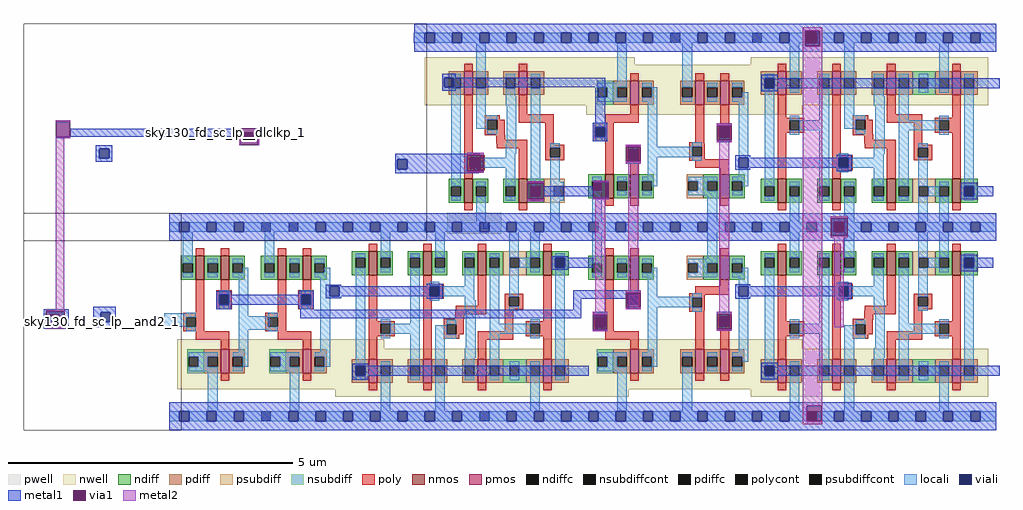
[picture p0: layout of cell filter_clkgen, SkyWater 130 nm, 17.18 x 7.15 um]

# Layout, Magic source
magic
tech sky130A
magscale 1 2
<< nwell >>
rect -482 1810 -398 1978
rect -62 784 235 987
<< locali >>
rect -522 2030 -494 2064
rect -516 1364 -496 1398
<< viali >>
rect -1118 1681 -1084 1715
rect -1628 1623 -1594 1657
rect -580 1584 -545 1620
rect -322 1590 -288 1624
<< metal1 >>
rect -520 2064 -492 2096
rect -522 2030 -492 2064
rect -520 1998 -492 2030
rect -1782 1751 -1730 1757
rect -1136 1727 -1130 1728
rect -1730 1699 -1130 1727
rect -1782 1693 -1730 1699
rect -1136 1669 -1130 1699
rect -1071 1669 -1065 1728
rect -1640 1657 -1582 1669
rect -1640 1623 -1628 1657
rect -1594 1623 -1582 1657
rect -334 1638 -276 1642
rect -1640 1611 -1582 1623
rect -587 1636 -276 1638
rect -587 1620 -334 1636
rect -587 1584 -580 1620
rect -545 1584 -334 1620
rect -587 1578 -334 1584
rect -587 1572 -276 1578
rect -587 1570 -293 1572
rect -518 1398 -498 1430
rect 946 1412 1006 1418
rect -544 1364 -480 1398
rect -518 1332 -498 1364
rect 946 1344 1006 1350
rect 39 1128 248 1158
rect -921 1096 -887 1109
rect -921 1089 -874 1096
rect 39 1089 68 1128
rect -921 1059 68 1089
rect 108 1059 154 1080
<< via1 >>
rect -1782 1699 -1730 1751
rect -1130 1715 -1071 1728
rect -1130 1681 -1118 1715
rect -1118 1681 -1084 1715
rect -1084 1681 -1071 1715
rect -1130 1669 -1071 1681
rect -334 1624 -276 1636
rect -334 1590 -322 1624
rect -322 1590 -288 1624
rect -288 1590 -276 1624
rect -334 1578 -276 1590
rect 946 1350 1006 1412
rect -1816 1031 -1749 1084
<< metal2 >>
rect -1782 1751 -1730 1757
rect -1782 1693 -1730 1699
rect -1782 1090 -1752 1693
rect -1136 1669 -1130 1728
rect -1071 1669 -1065 1728
rect -334 1636 -276 1642
rect -334 1572 -276 1578
rect 946 1412 1006 1418
rect 946 1344 1006 1350
rect 236 1092 270 1142
rect -1816 1084 -1749 1090
rect -1816 1025 -1749 1031
rect 958 1028 992 1344
use cclkgen  cclkgen_0
transform 1 0 -1536 0 -1 1430
box -359 -1 1646 764
use sky130_fd_sc_lp__dlclkp_1  sky130_fd_sc_lp__dlclkp_1_0 ~/sky130A/libs.ref/sky130_fd_sc_lp/mag
transform 1 0 -1857 0 1 1381
box -38 -49 1382 715
use phi2gen  phi2gen_0
transform 1 0 192 0 1 1332
box -702 -666 1348 764
<< end >>

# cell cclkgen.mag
magic
tech sky130A
magscale 1 2
<< nwell >>
rect 182 444 480 620
rect 738 444 910 646
<< pwell >>
rect 1133 -1 1323 72
<< nmos >>
rect 248 150 278 234
rect 336 150 366 234
<< pmos >>
rect 336 480 366 564
<< ndiff >>
rect 194 210 248 234
rect 194 176 202 210
rect 236 176 248 210
rect 194 150 248 176
rect 278 210 336 234
rect 278 176 290 210
rect 324 176 336 210
rect 278 150 336 176
rect 366 210 420 234
rect 366 176 378 210
rect 412 176 420 210
rect 366 150 420 176
<< pdiff >>
rect 276 540 336 564
rect 276 506 290 540
rect 324 506 336 540
rect 276 480 336 506
rect 366 540 420 564
rect 366 506 378 540
rect 412 506 420 540
rect 366 480 420 506
<< ndiffc >>
rect 202 176 236 210
rect 290 176 324 210
rect 378 176 412 210
<< pdiffc >>
rect 290 506 324 540
rect 378 506 412 540
<< nsubdiff >>
rect 218 540 276 564
rect 218 506 222 540
rect 256 506 276 540
rect 218 480 276 506
<< nsubdiffcont >>
rect 222 506 256 540
<< poly >>
rect 336 564 366 590
rect 336 446 366 480
rect 248 416 366 446
rect 204 400 278 416
rect 204 366 214 400
rect 248 366 278 400
rect 204 350 278 366
rect 248 234 278 350
rect 320 322 374 338
rect 320 288 330 322
rect 364 288 374 322
rect 320 272 374 288
rect 336 234 366 272
rect 248 124 278 150
rect 336 124 366 150
<< polycont >>
rect 214 366 248 400
rect 330 288 364 322
<< locali >>
rect 154 698 190 732
rect 224 698 286 732
rect 320 698 382 732
rect 416 698 538 732
rect 290 556 324 698
rect 222 540 324 556
rect 256 506 290 540
rect 222 490 324 506
rect 378 540 412 556
rect 412 506 432 540
rect 378 490 432 506
rect 214 400 248 416
rect 136 366 214 400
rect 136 353 248 366
rect 214 350 248 353
rect 398 410 432 490
rect 398 363 506 410
rect 330 322 364 338
rect 330 272 364 288
rect 398 226 432 363
rect 202 210 236 226
rect 202 66 236 176
rect 290 210 324 226
rect 290 160 324 176
rect 378 210 432 226
rect 412 192 432 210
rect 378 160 412 176
rect 154 32 190 66
rect 224 32 286 66
rect 320 32 382 66
rect 416 32 608 66
rect 1208 32 1276 55
<< viali >>
rect 190 698 224 732
rect 286 698 320 732
rect 382 698 416 732
rect 810 538 844 572
rect -267 358 -233 392
rect -88 349 -54 383
rect 330 288 364 322
rect 618 288 652 322
rect 718 258 752 292
rect 1070 258 1104 292
rect 1512 158 1546 192
rect 190 32 224 66
rect 286 32 320 66
rect 382 32 416 66
<< metal1 >>
rect 154 732 538 764
rect 154 698 190 732
rect 224 698 286 732
rect 320 698 382 732
rect 416 698 538 732
rect 154 666 538 698
rect 1236 684 1288 751
rect 798 572 854 586
rect 798 538 810 572
rect 844 538 1630 572
rect 798 530 854 538
rect -288 392 -200 407
rect -288 358 -267 392
rect -233 358 -200 392
rect -288 339 -200 358
rect -113 383 -35 402
rect -113 349 -88 383
rect -54 349 -35 383
rect -113 330 -35 349
rect 320 322 372 339
rect 610 322 662 336
rect 320 288 330 322
rect 364 288 618 322
rect 652 288 662 322
rect 320 276 372 288
rect 610 273 662 288
rect 705 292 759 300
rect 1060 292 1116 302
rect 705 258 718 292
rect 752 258 1070 292
rect 1104 258 1116 292
rect 705 252 759 258
rect 1060 248 1116 258
rect 1500 192 1556 200
rect 1500 158 1512 192
rect 1546 158 1646 192
rect 1500 152 1556 158
rect 154 66 538 98
rect 154 32 190 66
rect 224 32 286 66
rect 320 32 382 66
rect 416 32 608 66
rect 154 0 538 32
rect 1208 20 1243 55
rect 1259 20 1276 55
use comp_clks  comp_clks_0
transform 1 0 432 0 1 0
box 302 0 1192 764
use inv_weak_pulldown  inv_weak_pulldown_0
transform 1 0 288 0 1 0
box 154 0 538 764
use sky130_fd_sc_lp__and2_1  sky130_fd_sc_lp__and2_1_0 ~/sky130A/libs.ref/sky130_fd_sc_lp/mag
transform 1 0 -321 0 1 49
box -38 -49 518 715
<< labels >>
rlabel locali 538 716 538 716 3 VDD
rlabel locali 432 332 432 332 3 out
flabel ndiffc 378 176 412 210 0 FreeSans 160 0 0 0 out
rlabel locali 306 160 306 160 5 int
flabel polycont 214 366 248 400 0 FreeSans 160 0 0 0 in
flabel polycont 330 288 364 322 0 FreeSans 160 0 0 0 Vnb
rlabel metal1 1630 556 1630 556 3 cclk
rlabel metal1 1646 172 1646 172 3 cclkb
rlabel viali -240 370 -240 370 3 clk
rlabel viali -54 368 -54 368 3 div2clk
<< end >>

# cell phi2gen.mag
magic
tech sky130A
<< nwell >>
rect -142 239 32 323
rect 242 310 327 323
rect 34 222 327 310
rect -53 -190 327 -173
rect -53 -261 654 -190
rect 236 -274 654 -261
<< nmos >>
rect 183 75 198 117
rect -20 -68 -5 -26
rect 24 -68 39 -26
rect 183 -68 198 -26
rect 284 -60 299 -18
rect 380 -60 395 -18
rect 476 -60 491 -18
rect 591 -60 606 -18
<< pmos >>
rect 139 240 154 282
rect 183 240 198 282
rect 24 -233 39 -191
rect 139 -233 154 -191
rect 183 -233 198 -191
rect 284 -250 299 -208
rect 380 -250 395 -208
rect 476 -250 491 -208
rect 591 -250 606 -208
<< ndiff >>
rect 153 105 183 117
rect 153 88 160 105
rect 177 88 183 105
rect 153 75 183 88
rect 198 105 226 117
rect 198 88 204 105
rect 221 88 226 105
rect 198 75 226 88
rect -50 -39 -20 -26
rect -50 -56 -43 -39
rect -26 -56 -20 -39
rect -50 -68 -20 -56
rect -5 -39 24 -26
rect -5 -56 1 -39
rect 18 -56 24 -39
rect -5 -68 24 -56
rect 39 -39 66 -26
rect 39 -56 45 -39
rect 62 -56 66 -39
rect 39 -68 66 -56
rect 153 -39 183 -26
rect 153 -56 160 -39
rect 177 -56 183 -39
rect 153 -68 183 -56
rect 198 -39 226 -26
rect 198 -56 204 -39
rect 221 -56 226 -39
rect 198 -68 226 -56
rect 254 -30 284 -18
rect 254 -47 261 -30
rect 278 -47 284 -30
rect 254 -60 284 -47
rect 299 -30 326 -18
rect 299 -47 305 -30
rect 322 -47 326 -30
rect 299 -60 326 -47
rect 353 -30 380 -18
rect 353 -47 357 -30
rect 374 -47 380 -30
rect 353 -60 380 -47
rect 395 -30 422 -18
rect 395 -47 401 -30
rect 418 -47 422 -30
rect 395 -60 422 -47
rect 449 -30 476 -18
rect 449 -47 453 -30
rect 470 -47 476 -30
rect 449 -60 476 -47
rect 491 -30 521 -18
rect 561 -30 591 -18
rect 491 -47 497 -30
rect 514 -47 521 -30
rect 561 -47 568 -30
rect 585 -47 591 -30
rect 491 -60 521 -47
rect 561 -60 591 -47
rect 606 -30 636 -18
rect 606 -47 612 -30
rect 629 -47 636 -30
rect 606 -60 636 -47
<< pdiff >>
rect 112 270 139 282
rect 112 253 116 270
rect 133 253 139 270
rect 112 240 139 253
rect 154 270 183 282
rect 154 253 160 270
rect 177 253 183 270
rect 154 240 183 253
rect 198 270 225 282
rect 198 253 204 270
rect 221 253 225 270
rect 198 240 225 253
rect -6 -204 24 -191
rect -6 -221 1 -204
rect 18 -221 24 -204
rect -6 -233 24 -221
rect 39 -204 66 -191
rect 39 -221 45 -204
rect 62 -221 66 -204
rect 39 -233 66 -221
rect 112 -204 139 -191
rect 112 -221 116 -204
rect 133 -221 139 -204
rect 112 -233 139 -221
rect 154 -204 183 -191
rect 154 -221 160 -204
rect 177 -221 183 -204
rect 154 -233 183 -221
rect 198 -204 225 -191
rect 198 -221 204 -204
rect 221 -221 225 -204
rect 198 -233 225 -221
rect 254 -220 284 -208
rect 254 -237 261 -220
rect 278 -237 284 -220
rect 254 -250 284 -237
rect 299 -220 326 -208
rect 299 -237 305 -220
rect 322 -237 326 -220
rect 299 -250 326 -237
rect 353 -220 380 -208
rect 353 -237 357 -220
rect 374 -237 380 -220
rect 353 -250 380 -237
rect 395 -220 422 -208
rect 395 -237 401 -220
rect 418 -237 422 -220
rect 395 -250 422 -237
rect 449 -220 476 -208
rect 449 -237 453 -220
rect 470 -237 476 -220
rect 449 -250 476 -237
rect 491 -220 521 -208
rect 561 -220 591 -208
rect 491 -237 497 -220
rect 514 -237 521 -220
rect 561 -237 568 -220
rect 585 -237 591 -220
rect 491 -250 521 -237
rect 561 -250 591 -237
rect 606 -220 636 -208
rect 606 -237 612 -220
rect 629 -237 636 -220
rect 606 -250 636 -237
<< ndiffc >>
rect 160 88 177 105
rect 204 88 221 105
rect -43 -56 -26 -39
rect 1 -56 18 -39
rect 45 -56 62 -39
rect 160 -56 177 -39
rect 204 -56 221 -39
rect 261 -47 278 -30
rect 305 -47 322 -30
rect 357 -47 374 -30
rect 401 -47 418 -30
rect 453 -47 470 -30
rect 497 -47 514 -30
rect 568 -47 585 -30
rect 612 -47 629 -30
<< pdiffc >>
rect 116 253 133 270
rect 160 253 177 270
rect 204 253 221 270
rect 1 -221 18 -204
rect 45 -221 62 -204
rect 116 -221 133 -204
rect 160 -221 177 -204
rect 204 -221 221 -204
rect 261 -237 278 -220
rect 305 -237 322 -220
rect 357 -237 374 -220
rect 401 -237 418 -220
rect 453 -237 470 -220
rect 497 -237 514 -220
rect 568 -237 585 -220
rect 612 -237 629 -220
<< psubdiff >>
rect -127 96 -91 109
rect -127 79 -110 96
rect -93 79 -91 96
rect -127 67 -91 79
rect 124 105 153 117
rect 124 88 126 105
rect 143 88 153 105
rect 124 75 153 88
rect 124 -39 153 -26
rect 124 -56 126 -39
rect 143 -56 153 -39
rect 124 -68 153 -56
rect 521 -30 561 -18
rect 521 -47 532 -30
rect 549 -47 561 -30
rect 521 -60 561 -47
<< nsubdiff >>
rect -35 -204 -6 -191
rect -35 -221 -33 -204
rect -16 -221 -6 -204
rect -35 -233 -6 -221
rect 521 -220 561 -208
rect 521 -237 532 -220
rect 549 -237 561 -220
rect 521 -250 561 -237
<< psubdiffcont >>
rect -110 79 -93 96
rect 126 88 143 105
rect 126 -56 143 -39
rect 532 -47 549 -30
<< nsubdiffcont >>
rect -33 -221 -16 -204
rect 532 -237 549 -220
<< poly >>
rect 139 282 154 295
rect 183 282 198 295
rect 139 174 154 240
rect 183 207 198 240
rect 176 199 203 207
rect 176 182 181 199
rect 198 182 203 199
rect 176 174 203 182
rect 128 171 154 174
rect 128 166 155 171
rect 128 149 133 166
rect 150 149 155 166
rect 128 144 155 149
rect 128 141 198 144
rect 139 129 198 141
rect 183 117 198 129
rect 183 62 198 75
rect -20 -26 -5 -13
rect 24 -26 39 -13
rect 183 -26 198 -13
rect 284 -18 299 -5
rect 380 -18 395 -5
rect 476 -18 491 -5
rect 591 -18 606 -5
rect -20 -126 -5 -68
rect 24 -87 39 -68
rect 183 -80 198 -68
rect 16 -95 43 -87
rect 139 -92 198 -80
rect 16 -112 21 -95
rect 38 -112 43 -95
rect 16 -120 43 -112
rect 128 -95 198 -92
rect 128 -100 155 -95
rect 128 -117 133 -100
rect 150 -117 155 -100
rect 128 -122 155 -117
rect 128 -125 154 -122
rect -42 -134 -5 -126
rect -42 -151 -37 -134
rect -20 -151 -5 -134
rect -42 -159 -5 -151
rect -20 -174 39 -159
rect 24 -191 39 -174
rect 139 -191 154 -125
rect 176 -133 203 -125
rect 176 -150 181 -133
rect 198 -150 203 -133
rect 176 -158 203 -150
rect 284 -141 299 -60
rect 380 -75 395 -60
rect 380 -80 416 -75
rect 380 -97 391 -80
rect 408 -97 416 -80
rect 380 -102 416 -97
rect 284 -146 330 -141
rect 183 -191 198 -158
rect 284 -163 305 -146
rect 322 -163 330 -146
rect 284 -168 330 -163
rect 284 -208 299 -168
rect 380 -208 395 -102
rect 476 -114 491 -60
rect 437 -123 491 -114
rect 436 -129 491 -123
rect 523 -98 556 -93
rect 523 -115 531 -98
rect 548 -115 556 -98
rect 523 -120 556 -115
rect 436 -137 452 -129
rect 416 -138 452 -137
rect 416 -147 451 -138
rect 416 -164 421 -147
rect 438 -164 451 -147
rect 523 -159 538 -120
rect 591 -141 606 -60
rect 416 -172 443 -164
rect 476 -174 538 -159
rect 560 -146 606 -141
rect 560 -163 568 -146
rect 585 -163 606 -146
rect 560 -168 606 -163
rect 476 -208 491 -174
rect 591 -208 606 -168
rect 24 -246 39 -233
rect 139 -246 154 -233
rect 183 -246 198 -233
rect 284 -263 299 -250
rect 380 -263 395 -250
rect 476 -263 491 -250
rect 591 -263 606 -250
<< polycont >>
rect 181 182 198 199
rect 133 149 150 166
rect 21 -112 38 -95
rect 133 -117 150 -100
rect -37 -151 -20 -134
rect 181 -150 198 -133
rect 391 -97 408 -80
rect 305 -163 322 -146
rect 531 -115 548 -98
rect 421 -164 438 -147
rect 568 -163 585 -146
<< locali >>
rect 77 349 143 366
rect 160 349 191 366
rect 208 349 269 366
rect 116 270 133 349
rect 116 245 133 253
rect 160 270 177 278
rect 160 245 177 253
rect 204 270 221 278
rect 221 253 232 262
rect 204 245 232 253
rect 181 199 198 207
rect 181 174 198 182
rect 133 166 150 174
rect 72 149 133 166
rect 72 147 150 149
rect 133 141 150 147
rect 215 146 232 245
rect 215 113 232 129
rect 126 105 177 113
rect -105 96 -93 104
rect 143 88 160 105
rect 126 80 177 88
rect 204 105 232 113
rect 221 96 232 105
rect 204 80 221 88
rect -105 71 -93 79
rect 160 33 177 80
rect -67 16 -49 33
rect -32 16 -1 33
rect 16 16 47 33
rect 64 16 95 33
rect 112 16 143 33
rect 160 16 191 33
rect 208 16 239 33
rect 256 16 287 33
rect 304 16 335 33
rect 352 16 383 33
rect 400 16 431 33
rect 448 16 479 33
rect 496 16 527 33
rect 544 16 575 33
rect 592 16 623 33
rect 640 16 668 33
rect -43 -39 -26 16
rect 160 -31 177 16
rect 261 -30 278 -22
rect -43 -64 -26 -56
rect 1 -39 18 -31
rect 1 -64 18 -56
rect 45 -39 62 -31
rect 126 -39 177 -31
rect 62 -56 72 -47
rect 45 -64 72 -56
rect 143 -56 160 -39
rect 126 -64 177 -56
rect 204 -39 221 -31
rect 221 -56 232 -47
rect 204 -64 232 -56
rect 21 -95 38 -87
rect 21 -120 38 -112
rect 55 -98 72 -64
rect 215 -80 232 -64
rect 133 -98 150 -92
rect 55 -100 150 -98
rect 55 -117 133 -100
rect -37 -134 -20 -126
rect -37 -159 -20 -151
rect 55 -196 72 -117
rect 133 -125 150 -117
rect 181 -133 198 -125
rect 181 -158 198 -150
rect 215 -196 232 -97
rect -33 -204 18 -196
rect -16 -221 1 -204
rect -33 -229 18 -221
rect 45 -204 72 -196
rect 62 -221 72 -204
rect 116 -204 133 -196
rect 45 -229 62 -221
rect 1 -300 18 -229
rect 116 -300 133 -221
rect 160 -204 177 -196
rect 160 -229 177 -221
rect 204 -204 232 -196
rect 221 -213 232 -204
rect 204 -229 221 -221
rect 261 -220 278 -47
rect 305 -30 322 16
rect 305 -55 322 -47
rect 357 -30 374 -22
rect 305 -146 322 -138
rect 357 -146 374 -47
rect 401 -30 418 16
rect 401 -55 418 -47
rect 453 -30 470 -22
rect 391 -80 408 -72
rect 453 -80 470 -47
rect 408 -97 470 -80
rect 391 -105 408 -97
rect 453 -104 470 -97
rect 497 -30 514 -22
rect 453 -122 472 -104
rect 322 -163 374 -146
rect 421 -147 438 -139
rect 305 -171 322 -163
rect 261 -245 278 -237
rect 305 -220 322 -212
rect 305 -300 322 -237
rect 357 -220 374 -163
rect 357 -245 374 -237
rect 401 -164 421 -148
rect 401 -172 438 -164
rect 401 -220 418 -172
rect 455 -189 472 -122
rect 401 -300 418 -237
rect 453 -206 472 -189
rect 497 -146 514 -47
rect 531 -30 548 16
rect 568 -30 585 16
rect 531 -47 532 -30
rect 549 -47 568 -30
rect 531 -98 548 -47
rect 568 -55 585 -47
rect 612 -30 629 -22
rect 531 -123 548 -115
rect 568 -146 585 -138
rect 497 -163 568 -146
rect 453 -220 470 -206
rect 453 -245 470 -237
rect 497 -220 514 -163
rect 568 -171 585 -163
rect 497 -245 514 -237
rect 532 -220 549 -212
rect 568 -220 585 -212
rect 549 -237 568 -220
rect 532 -245 549 -237
rect 568 -300 585 -237
rect 612 -220 629 -47
rect 612 -245 629 -237
rect -67 -317 -49 -300
rect -32 -317 -1 -300
rect 16 -317 47 -300
rect 64 -317 95 -300
rect 112 -317 143 -300
rect 160 -317 191 -300
rect 208 -317 239 -300
rect 256 -317 287 -300
rect 304 -317 335 -300
rect 352 -317 383 -300
rect 400 -317 431 -300
rect 448 -317 479 -300
rect 496 -317 527 -300
rect 544 -317 575 -300
rect 592 -317 623 -300
rect 640 -317 668 -300
<< viali >>
rect 143 349 160 366
rect 191 349 208 366
rect -303 270 -286 287
rect 261 269 278 286
rect -37 183 -20 200
rect 181 182 198 199
rect 21 144 38 161
rect 215 129 232 146
rect 391 129 408 146
rect -151 79 -134 96
rect 612 79 629 96
rect -49 16 -32 33
rect -1 16 16 33
rect 47 16 64 33
rect 95 16 112 33
rect 143 16 160 33
rect 191 16 208 33
rect 239 16 256 33
rect 287 16 304 33
rect 335 16 352 33
rect 383 16 400 33
rect 431 16 448 33
rect 479 16 496 33
rect 527 16 544 33
rect 575 16 592 33
rect 623 16 640 33
rect 21 -112 38 -95
rect -37 -151 -20 -134
rect 215 -97 232 -80
rect 181 -150 198 -133
rect 391 -97 408 -80
rect 261 -237 278 -220
rect 612 -47 629 -30
rect -49 -317 -32 -300
rect -1 -317 16 -300
rect 47 -317 64 -300
rect 95 -317 112 -300
rect 143 -317 160 -300
rect 191 -317 208 -300
rect 239 -317 256 -300
rect 287 -317 304 -300
rect 335 -317 352 -300
rect 383 -317 400 -300
rect 431 -317 448 -300
rect 479 -317 496 -300
rect 527 -317 544 -300
rect 575 -317 592 -300
rect 623 -317 640 -300
<< metal1 >>
rect 77 366 269 382
rect 77 349 143 366
rect 160 349 191 366
rect 208 349 269 366
rect 77 333 269 349
rect -307 287 -283 294
rect -307 270 -303 287
rect -286 270 -20 287
rect -307 264 -283 270
rect -37 208 -20 270
rect 255 286 284 292
rect 255 269 261 286
rect 278 269 674 286
rect 255 263 284 269
rect -42 200 -16 208
rect -42 183 -37 200
rect -20 183 -16 200
rect -42 175 -16 183
rect 176 203 203 207
rect 176 174 203 177
rect 16 166 43 169
rect 16 136 43 140
rect 209 146 235 151
rect 388 146 414 152
rect 209 129 215 146
rect 232 129 391 146
rect 408 129 414 146
rect 209 125 235 129
rect 388 123 414 129
rect -157 102 -128 105
rect -41 103 -14 106
rect -128 79 -41 96
rect -41 73 -14 76
rect 606 96 635 102
rect 606 79 612 96
rect 629 79 663 96
rect 606 73 635 79
rect -157 70 -128 73
rect -67 33 668 49
rect -67 16 -49 33
rect -32 16 -1 33
rect 16 16 47 33
rect 64 16 95 33
rect 112 16 143 33
rect 160 16 191 33
rect 208 16 239 33
rect 256 16 287 33
rect 304 16 335 33
rect 352 16 383 33
rect 400 16 431 33
rect 448 16 479 33
rect 496 16 527 33
rect 544 16 575 33
rect 592 16 623 33
rect 640 16 668 33
rect -67 0 668 16
rect 606 -30 635 -24
rect 606 -47 612 -30
rect 629 -47 663 -30
rect 606 -53 635 -47
rect 209 -80 235 -76
rect 388 -80 414 -74
rect 16 -91 43 -87
rect 209 -97 215 -80
rect 232 -97 391 -80
rect 408 -97 414 -80
rect 209 -102 235 -97
rect 388 -103 414 -97
rect 16 -120 43 -117
rect -42 -130 -16 -125
rect -42 -159 -16 -156
rect 176 -129 203 -125
rect 176 -158 203 -155
rect 255 -220 284 -214
rect 255 -237 261 -220
rect 278 -237 674 -220
rect 255 -243 284 -237
rect -67 -290 668 -284
rect -67 -300 335 -290
rect 361 -300 668 -290
rect -67 -317 -49 -300
rect -32 -317 -1 -300
rect 16 -317 47 -300
rect 64 -317 95 -300
rect 112 -317 143 -300
rect 160 -317 191 -300
rect 208 -317 239 -300
rect 256 -317 287 -300
rect 304 -317 335 -300
rect 361 -317 383 -300
rect 400 -317 431 -300
rect 448 -317 479 -300
rect 496 -317 527 -300
rect 544 -317 575 -300
rect 592 -317 623 -300
rect 640 -317 668 -300
rect -67 -333 668 -317
<< via1 >>
rect 332 343 358 370
rect 176 199 203 203
rect 176 182 181 199
rect 181 182 198 199
rect 198 182 203 199
rect 176 177 203 182
rect 16 161 43 166
rect 16 144 21 161
rect 21 144 38 161
rect 38 144 43 161
rect 16 140 43 144
rect -157 96 -128 102
rect -157 79 -151 96
rect -151 79 -134 96
rect -134 79 -128 96
rect -157 73 -128 79
rect -41 76 -14 103
rect 16 -95 43 -91
rect 16 -112 21 -95
rect 21 -112 38 -95
rect 38 -112 43 -95
rect 16 -117 43 -112
rect -42 -134 -16 -130
rect -42 -151 -37 -134
rect -37 -151 -20 -134
rect -20 -151 -16 -134
rect -42 -156 -16 -151
rect 176 -133 203 -129
rect 176 -150 181 -133
rect 181 -150 198 -133
rect 198 -150 203 -133
rect 176 -155 203 -150
rect 335 -300 361 -290
rect 335 -317 352 -300
rect 352 -317 361 -300
<< metal2 >>
rect 328 370 362 376
rect 328 343 332 370
rect 358 343 362 370
rect 176 203 203 207
rect 176 174 203 177
rect 16 166 43 169
rect 16 136 43 140
rect -157 102 -128 105
rect -41 103 -14 106
rect -41 73 -14 76
rect -157 70 -128 73
rect -37 -125 -20 73
rect 21 -87 38 136
rect 16 -91 43 -87
rect 16 -120 43 -117
rect 181 -125 198 174
rect -42 -130 -16 -125
rect -42 -159 -16 -156
rect 176 -129 203 -125
rect 176 -158 203 -155
rect 328 -290 362 343
rect 328 -317 335 -290
rect 361 -317 362 -290
rect 328 -323 362 -317
use clk_stg1  clk_stg1_0
transform 1 0 -576 0 1 0
box 225 0 521 382
use inv_weak_pulldown  inv_weak_pulldown_0
transform 1 0 -144 0 1 0
box 77 0 269 382
use comp_clks  comp_clks_0
transform 1 0 72 0 1 0
box 151 0 596 382
<< end >>

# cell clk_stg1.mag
magic
tech sky130A
<< nwell >>
rect 263 239 467 323
<< nmos >>
rect 308 67 323 109
rect 404 67 419 109
<< pmos >>
rect 308 257 323 299
rect 404 257 419 299
<< ndiff >>
rect 281 96 308 109
rect 281 79 285 96
rect 302 79 308 96
rect 281 67 308 79
rect 323 96 350 109
rect 323 79 329 96
rect 346 79 350 96
rect 323 67 350 79
rect 377 96 404 109
rect 377 79 381 96
rect 398 79 404 96
rect 377 67 404 79
rect 419 96 449 109
rect 419 79 425 96
rect 442 79 449 96
rect 419 67 449 79
<< pdiff >>
rect 281 286 308 299
rect 281 269 285 286
rect 302 269 308 286
rect 281 257 308 269
rect 323 286 350 299
rect 323 269 329 286
rect 346 269 350 286
rect 323 257 350 269
rect 377 286 404 299
rect 377 269 381 286
rect 398 269 404 286
rect 377 257 404 269
rect 419 286 449 299
rect 419 269 425 286
rect 442 269 449 286
rect 419 257 449 269
<< ndiffc >>
rect 285 79 302 96
rect 329 79 346 96
rect 381 79 398 96
rect 425 79 442 96
<< pdiffc >>
rect 285 269 302 286
rect 329 269 346 286
rect 381 269 398 286
rect 425 269 442 286
<< poly >>
rect 308 299 323 312
rect 404 299 419 312
rect 308 151 323 257
rect 404 223 419 257
rect 344 213 371 221
rect 344 196 349 213
rect 366 196 379 213
rect 404 208 466 223
rect 344 187 379 196
rect 344 186 380 187
rect 364 178 380 186
rect 364 172 419 178
rect 365 163 419 172
rect 308 146 344 151
rect 308 129 319 146
rect 336 129 344 146
rect 308 124 344 129
rect 308 109 323 124
rect 404 109 419 163
rect 451 169 466 208
rect 451 164 484 169
rect 451 147 459 164
rect 476 147 484 164
rect 451 142 484 147
rect 308 54 323 67
rect 404 54 419 67
<< polycont >>
rect 349 196 366 213
rect 319 129 336 146
rect 459 147 476 164
<< locali >>
rect 225 349 239 366
rect 256 349 287 366
rect 304 349 335 366
rect 352 349 383 366
rect 400 349 431 366
rect 448 349 479 366
rect 496 349 521 366
rect 285 286 302 294
rect 285 96 302 269
rect 329 286 346 349
rect 329 221 346 269
rect 381 286 398 294
rect 381 255 398 269
rect 425 286 442 294
rect 381 238 400 255
rect 329 213 366 221
rect 329 197 349 213
rect 349 188 366 196
rect 383 171 400 238
rect 319 146 336 154
rect 381 153 400 171
rect 381 146 398 153
rect 336 129 398 146
rect 319 121 336 129
rect 285 71 302 79
rect 329 96 346 104
rect 329 33 346 79
rect 381 96 398 129
rect 381 71 398 79
rect 425 96 442 269
rect 425 71 442 79
rect 459 164 476 172
rect 459 33 476 147
rect 225 16 239 33
rect 256 16 287 33
rect 304 16 335 33
rect 352 16 383 33
rect 400 16 431 33
rect 448 16 479 33
rect 496 16 521 33
<< viali >>
rect 239 349 256 366
rect 287 349 304 366
rect 335 349 352 366
rect 383 349 400 366
rect 431 349 448 366
rect 479 349 496 366
rect 239 16 256 33
rect 287 16 304 33
rect 335 16 352 33
rect 383 16 400 33
rect 431 16 448 33
rect 479 16 496 33
<< metal1 >>
rect 225 366 521 382
rect 225 349 239 366
rect 256 349 287 366
rect 304 349 335 366
rect 352 349 383 366
rect 400 349 431 366
rect 448 349 479 366
rect 496 349 521 366
rect 225 333 521 349
rect 225 33 521 49
rect 225 16 239 33
rect 256 16 287 33
rect 304 16 335 33
rect 352 16 383 33
rect 400 16 431 33
rect 448 16 479 33
rect 496 16 521 33
rect 225 0 521 16
<< labels >>
flabel polycont 319 129 336 146 0 FreeSans 80 0 0 0 clk
rlabel locali 362 129 362 129 5 clk
rlabel locali 442 174 442 174 3 clkt
rlabel locali 285 184 285 184 7 clki
<< end >>

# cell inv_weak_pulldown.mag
magic
tech sky130A
<< nwell >>
rect 91 222 229 310
<< nmos >>
rect 124 75 139 117
rect 168 75 183 117
<< pmos >>
rect 168 240 183 282
<< ndiff >>
rect 94 105 124 117
rect 94 88 101 105
rect 118 88 124 105
rect 94 75 124 88
rect 139 105 168 117
rect 139 88 145 105
rect 162 88 168 105
rect 139 75 168 88
rect 183 105 210 117
rect 183 88 189 105
rect 206 88 210 105
rect 183 75 210 88
<< pdiff >>
rect 138 270 168 282
rect 138 253 145 270
rect 162 253 168 270
rect 138 240 168 253
rect 183 270 210 282
rect 183 253 189 270
rect 206 253 210 270
rect 183 240 210 253
<< ndiffc >>
rect 101 88 118 105
rect 145 88 162 105
rect 189 88 206 105
<< pdiffc >>
rect 145 253 162 270
rect 189 253 206 270
<< nsubdiff >>
rect 109 270 138 282
rect 109 253 111 270
rect 128 253 138 270
rect 109 240 138 253
<< nsubdiffcont >>
rect 111 253 128 270
<< poly >>
rect 168 282 183 295
rect 168 223 183 240
rect 124 208 183 223
rect 102 200 139 208
rect 102 183 107 200
rect 124 183 139 200
rect 102 175 139 183
rect 124 117 139 175
rect 160 161 187 169
rect 160 144 165 161
rect 182 144 187 161
rect 160 136 187 144
rect 168 117 183 136
rect 124 62 139 75
rect 168 62 183 75
<< polycont >>
rect 107 183 124 200
rect 165 144 182 161
<< locali >>
rect 77 349 95 366
rect 112 349 143 366
rect 160 349 191 366
rect 208 349 239 366
rect 256 349 269 366
rect 145 278 162 349
rect 111 270 162 278
rect 128 253 145 270
rect 111 245 162 253
rect 189 270 206 278
rect 206 253 216 270
rect 189 245 216 253
rect 107 200 124 208
rect 107 175 124 183
rect 165 161 182 169
rect 165 136 182 144
rect 199 113 216 245
rect 101 105 118 113
rect 101 33 118 88
rect 145 105 162 113
rect 145 80 162 88
rect 189 105 216 113
rect 206 96 216 105
rect 189 80 206 88
rect 77 16 95 33
rect 112 16 143 33
rect 160 16 191 33
rect 208 16 239 33
rect 256 16 269 33
<< viali >>
rect 95 349 112 366
rect 143 349 160 366
rect 191 349 208 366
rect 239 349 256 366
rect 95 16 112 33
rect 143 16 160 33
rect 191 16 208 33
rect 239 16 256 33
<< metal1 >>
rect 77 366 269 382
rect 77 349 95 366
rect 112 349 143 366
rect 160 349 191 366
rect 208 349 239 366
rect 256 349 269 366
rect 77 333 269 349
rect 77 33 269 49
rect 77 16 95 33
rect 112 16 143 33
rect 160 16 191 33
rect 208 16 239 33
rect 256 16 269 33
rect 77 0 269 16
<< labels >>
rlabel locali 269 358 269 358 3 VDD
rlabel locali 269 24 269 24 3 GND
rlabel locali 216 166 216 166 3 out
flabel ndiffc 189 88 206 105 0 FreeSans 80 0 0 0 out
rlabel locali 153 80 153 80 5 int
flabel polycont 165 144 182 161 0 FreeSans 80 0 0 0 Vnb
flabel polycont 107 183 124 200 0 FreeSans 80 0 0 0 in
<< end >>

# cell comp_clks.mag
magic
tech sky130A
<< nwell >>
rect 164 239 582 323
<< nmos >>
rect 212 67 227 109
rect 308 67 323 109
rect 404 67 419 109
rect 519 67 534 109
<< pmos >>
rect 212 257 227 299
rect 308 257 323 299
rect 404 257 419 299
rect 519 257 534 299
<< ndiff >>
rect 182 96 212 109
rect 182 79 189 96
rect 206 79 212 96
rect 182 67 212 79
rect 227 96 254 109
rect 227 79 233 96
rect 250 79 254 96
rect 227 67 254 79
rect 281 96 308 109
rect 281 79 285 96
rect 302 79 308 96
rect 281 67 308 79
rect 323 96 350 109
rect 323 79 329 96
rect 346 79 350 96
rect 323 67 350 79
rect 377 96 404 109
rect 377 79 381 96
rect 398 79 404 96
rect 377 67 404 79
rect 419 96 449 109
rect 489 96 519 109
rect 419 79 425 96
rect 442 79 449 96
rect 489 79 496 96
rect 513 79 519 96
rect 419 67 449 79
rect 489 67 519 79
rect 534 96 564 109
rect 534 79 540 96
rect 557 79 564 96
rect 534 67 564 79
<< pdiff >>
rect 182 286 212 299
rect 182 269 189 286
rect 206 269 212 286
rect 182 257 212 269
rect 227 286 254 299
rect 227 269 233 286
rect 250 269 254 286
rect 227 257 254 269
rect 281 286 308 299
rect 281 269 285 286
rect 302 269 308 286
rect 281 257 308 269
rect 323 286 350 299
rect 323 269 329 286
rect 346 269 350 286
rect 323 257 350 269
rect 377 286 404 299
rect 377 269 381 286
rect 398 269 404 286
rect 377 257 404 269
rect 419 286 449 299
rect 489 286 519 299
rect 419 269 425 286
rect 442 269 449 286
rect 489 269 496 286
rect 513 269 519 286
rect 419 257 449 269
rect 489 257 519 269
rect 534 286 564 299
rect 534 269 540 286
rect 557 269 564 286
rect 534 257 564 269
<< ndiffc >>
rect 189 79 206 96
rect 233 79 250 96
rect 285 79 302 96
rect 329 79 346 96
rect 381 79 398 96
rect 425 79 442 96
rect 496 79 513 96
rect 540 79 557 96
<< pdiffc >>
rect 189 269 206 286
rect 233 269 250 286
rect 285 269 302 286
rect 329 269 346 286
rect 381 269 398 286
rect 425 269 442 286
rect 496 269 513 286
rect 540 269 557 286
<< psubdiff >>
rect 449 96 489 109
rect 449 79 460 96
rect 477 79 489 96
rect 449 67 489 79
<< nsubdiff >>
rect 449 286 489 299
rect 449 269 460 286
rect 477 269 489 286
rect 449 257 489 269
<< psubdiffcont >>
rect 460 79 477 96
<< nsubdiffcont >>
rect 460 269 477 286
<< poly >>
rect 212 299 227 312
rect 308 299 323 312
rect 404 299 419 312
rect 519 299 534 312
rect 212 217 227 257
rect 212 212 258 217
rect 212 195 233 212
rect 250 195 258 212
rect 212 190 258 195
rect 212 109 227 190
rect 308 151 323 257
rect 404 223 419 257
rect 344 213 371 221
rect 344 196 349 213
rect 366 196 379 213
rect 404 208 466 223
rect 519 217 534 257
rect 344 187 379 196
rect 344 186 380 187
rect 364 178 380 186
rect 364 172 419 178
rect 365 163 419 172
rect 308 146 344 151
rect 308 129 319 146
rect 336 129 344 146
rect 308 124 344 129
rect 308 109 323 124
rect 404 109 419 163
rect 451 169 466 208
rect 488 212 534 217
rect 488 195 496 212
rect 513 195 534 212
rect 488 190 534 195
rect 451 164 484 169
rect 451 147 459 164
rect 476 147 484 164
rect 451 142 484 147
rect 519 109 534 190
rect 212 54 227 67
rect 308 54 323 67
rect 404 54 419 67
rect 519 54 534 67
<< polycont >>
rect 233 195 250 212
rect 349 196 366 213
rect 319 129 336 146
rect 496 195 513 212
rect 459 147 476 164
<< locali >>
rect 151 349 167 366
rect 184 349 215 366
rect 232 349 263 366
rect 280 349 311 366
rect 328 349 359 366
rect 376 349 407 366
rect 424 349 455 366
rect 472 349 503 366
rect 520 349 551 366
rect 568 349 596 366
rect 189 286 206 294
rect 189 96 206 269
rect 233 286 250 349
rect 233 261 250 269
rect 285 286 302 294
rect 233 212 250 220
rect 285 212 302 269
rect 250 195 302 212
rect 329 286 346 349
rect 329 221 346 269
rect 381 286 398 294
rect 381 255 398 269
rect 425 286 442 294
rect 381 238 400 255
rect 329 213 366 221
rect 329 197 349 213
rect 233 187 250 195
rect 189 71 206 79
rect 233 96 250 104
rect 233 33 250 79
rect 285 96 302 195
rect 349 188 366 196
rect 383 171 400 238
rect 319 146 336 154
rect 381 153 400 171
rect 425 212 442 269
rect 460 286 477 294
rect 496 286 513 349
rect 477 269 496 286
rect 460 261 477 269
rect 496 261 513 269
rect 540 286 557 294
rect 496 212 513 220
rect 425 195 496 212
rect 381 146 398 153
rect 336 129 398 146
rect 319 121 336 129
rect 285 71 302 79
rect 329 96 346 104
rect 329 33 346 79
rect 381 96 398 129
rect 381 71 398 79
rect 425 96 442 195
rect 496 187 513 195
rect 425 71 442 79
rect 459 164 476 172
rect 459 96 476 147
rect 496 96 513 104
rect 459 79 460 96
rect 477 79 496 96
rect 459 33 476 79
rect 496 33 513 79
rect 540 96 557 269
rect 540 71 557 79
rect 151 16 167 33
rect 184 16 215 33
rect 232 16 263 33
rect 280 16 311 33
rect 328 16 359 33
rect 376 16 407 33
rect 424 16 455 33
rect 472 16 503 33
rect 520 16 551 33
rect 568 16 596 33
<< viali >>
rect 167 349 184 366
rect 215 349 232 366
rect 263 349 280 366
rect 311 349 328 366
rect 359 349 376 366
rect 407 349 424 366
rect 455 349 472 366
rect 503 349 520 366
rect 551 349 568 366
rect 167 16 184 33
rect 215 16 232 33
rect 263 16 280 33
rect 311 16 328 33
rect 359 16 376 33
rect 407 16 424 33
rect 455 16 472 33
rect 503 16 520 33
rect 551 16 568 33
<< metal1 >>
rect 151 366 596 382
rect 151 349 167 366
rect 184 349 215 366
rect 232 349 263 366
rect 280 349 311 366
rect 328 349 359 366
rect 376 349 407 366
rect 424 349 455 366
rect 472 349 503 366
rect 520 349 551 366
rect 568 349 596 366
rect 151 333 596 349
rect 151 33 596 49
rect 151 16 167 33
rect 184 16 215 33
rect 232 16 263 33
rect 280 16 311 33
rect 328 16 359 33
rect 376 16 407 33
rect 424 16 455 33
rect 472 16 503 33
rect 520 16 551 33
rect 568 16 596 33
rect 151 0 596 16
<< labels >>
flabel polycont 319 129 336 146 0 FreeSans 80 0 0 0 clk
rlabel locali 362 129 362 129 5 clk
flabel pdiffc 189 269 206 286 0 FreeSans 80 0 0 0 clka
flabel ndiffc 189 79 206 96 0 FreeSans 80 0 0 0 clka
flabel pdiffc 540 269 557 286 0 FreeSans 80 0 0 0 clkb
flabel ndiffc 540 79 557 96 0 FreeSans 80 0 0 0 clkb
rlabel locali 596 358 596 358 3 VDD
rlabel locali 596 24 596 24 3 GND
rlabel locali 285 188 285 188 7 this
rlabel locali 480 195 480 195 5 clkt
<< end >>
